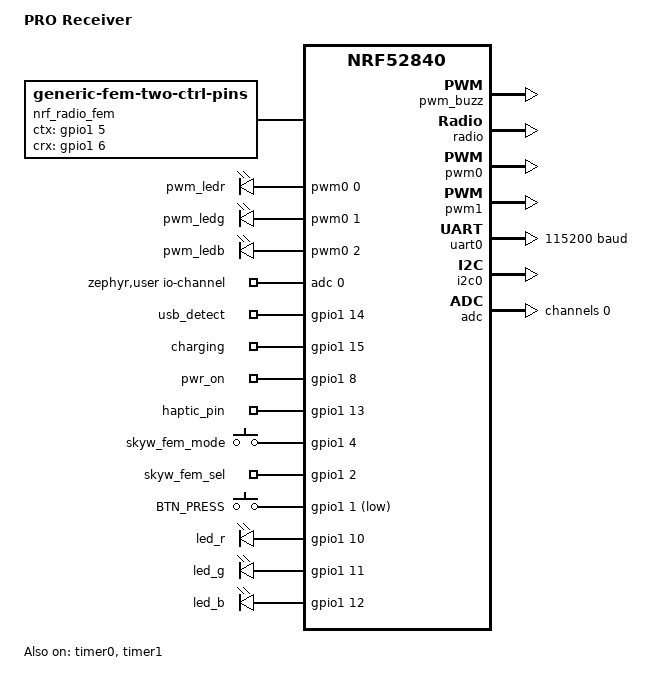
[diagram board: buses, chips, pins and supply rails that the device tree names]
/dts-v1/;
#include <nordic/nrf52840_qiaa.dtsi>
#include "PRO_Recevier-pinctrl.dtsi"

/ {
    model = "PRO Receiver";
	compatible = "rarebit,pro-receiver";

    chosen {
	    zephyr,console = &uart0;
	    zephyr,shell-uart = &uart0;
	    zephyr,uart-mcumgr = &uart0;
	    zephyr,bt-mon-uart = &uart0;
	    zephyr,bt-c2h-uart = &uart0;
		zephyr,sram = &sram0;
		zephyr,flash = &flash0;
		zephyr,code-partition = &slot0_partition;
	};

    nrf_radio_fem: skyworks-rfx2411 {
        compatible = "generic-fem-two-ctrl-pins";
        ctx-gpios = <&gpio1 5 0>;
        ctx-settle-time-us = <1>;
        crx-gpios = <&gpio1 6 0>;
        crx-settle-time-us = <1>;
        tx-gain-db = <8>;
        rx-gain-db = <8>;
     };

    pwmleds {
        compatible = "pwm-leds";
        status = "okay";

        pwm_ledr: pwm_led_r {
            pwms = <&pwm0 0 PWM_MSEC(20) PWM_POLARITY_NORMAL>;
            status = "okay";
        };
        pwm_ledg: pwm_led_g {
            pwms = <&pwm0 1 PWM_MSEC(20) PWM_POLARITY_NORMAL>;
            status = "okay";
        };
        pwm_ledb: pwm_led_b {
            pwms = <&pwm0 2 PWM_MSEC(20) PWM_POLARITY_NORMAL>;
            status = "okay";
        };
        pwm_buzz: pwm_buzz {
            pwms = <&pwm1 0 PWM_MSEC(20) PWM_POLARITY_NORMAL>;
            status = "okay";
        };
    };

    zephyr,user {
        io-channels = <&adc 0>;
    };

    pwr_gpios {
        compatible = "gpio-keys";
        usb_detect: usb_detect {
            gpios = <&gpio1 14 GPIO_ACTIVE_HIGH>;
        };
        charging: charging {
            gpios = <&gpio1 15 GPIO_ACTIVE_HIGH>;
        };
        pwr_on: pwr_on {
            gpios = <&gpio1 8 GPIO_ACTIVE_HIGH>;
        };
        haptic_pin: haptic_pin {
            gpios = <&gpio1 13 GPIO_ACTIVE_HIGH>;
        };
        skyw_fem_mode: skyw_fem_mode{
            gpios = <&gpio1 4 GPIO_PULL_DOWN>;
        };
        skyw_fem_sel: skyw_fem_sel{
            gpios = <&gpio1 2 GPIO_PULL_DOWN>;
        };
    };

    buttons {
        compatible = "gpio-keys";
        btnpress: btn_press {
            gpios = <&gpio1 1 GPIO_ACTIVE_LOW>;
            label = "BTN_PRESS";
        };
    };

    leds {
        compatible = "gpio-leds";
        ledr: led_r {
            gpios = <&gpio1 10 0>;
            label = "led_r";
        };

        ledg: led_g {
            gpios = <&gpio1 11 0>;
            label = "led_g";
        };

        ledb: led_b {
            gpios = <&gpio1 12 0>;
            label = "led_b";
        };
    };

    aliases {
        led0 = &ledr;
        led1 = &ledg;
        led2 = &ledb;
        pwm-led0 = &pwm_ledr;
        pwm-led1 = &pwm_ledg;
        pwm-led2 = &pwm_ledb;
        sw0 = &btnpress;
        bootloader-led0 = &ledb;
        mcuboot-led0 = &ledg;
        watchdog0 = &wdt0;
        usb-dt = &usb_detect;
        chrg = &charging;
        pwron = &pwr_on;
        pwm-buzz = &pwm_buzz;
        buzz-en = &haptic_pin;
    };
};

&flash0 {
    partitions {
        compatible = "fixed-partitions";
        #address-cells = <1>;
        #size-cells = <1>;

        boot_partition: partition@0 {
            label = "mcuboot";
            reg = <0x0 0xc000>;
        };
        slot0_partition: partition@c000 {
            label = "image-0";
            reg = <0xc000 0x72000>;
        };
        slot1_partition: partition@7e000 {
            label = "image-1";
            reg = <0x7e000 0x72000>;
        };
        scratch_partition: partition@f0000 {
            label = "image-scratch";
            reg = <0xf0000 0xa000>;
        };
        storage_partition: partition@fa000 {
            label = "storage";
            reg = <0xfa000 0x6000>;
        };
    };
};


&gpiote {
    status = "okay";
};

&gpio0 {
    status = "okay";
};

&radio {
    fem = <&{/skyworks-rfx2411/}>;
};

&gpio1 {
    status = "okay";
};

&pwm0 {
    pinctrl-0 = <&pwm0_default>;
    pinctrl-1 = <&pwm0_sleep>;
    pinctrl-names = "default", "sleep";
    status = "okay";
};

&pwm1 {
    status = "okay";
    pinctrl-0 = <&pwm1_default>;
    pinctrl-1 = <&pwm1_sleep>;
    pinctrl-names = "default", "sleep";
};

&uart0 {
    status = "okay";
    pinctrl-0 = <&uart0_default>;
    pinctrl-1 = <&uart0_sleep>;
    pinctrl-names = "default", "sleep";
    compatible = "nordic,nrf-uart";
    current-speed = <115200>;
};

&i2c0 {
    status = "okay";
    pinctrl-0 = <&i2c0_default>;
    pinctrl-1 = <&i2c0_sleep>;
    pinctrl-names = "default", "sleep";
};

&adc {
    #address-cells = <1>;
    #size-cells = <0>;
    status = "okay";
    channel@0 {
        reg = <0>;
        zephyr,gain = "ADC_GAIN_1_6";
        zephyr,reference = "ADC_REF_INTERNAL";
        zephyr,acquisition-time = <ADC_ACQ_TIME_DEFAULT>;
        zephyr,input-positive = <NRF_SAADC_AIN0>; /* P0.02 for nRF52xx */
        zephyr,resolution = <12>;
    };
};

&nfct {
    status = "disabled";
};

&timer0 {
    status = "okay";
};

&timer1 {
    status = "okay";
};

&usbd {
    status = "disabled";
};
